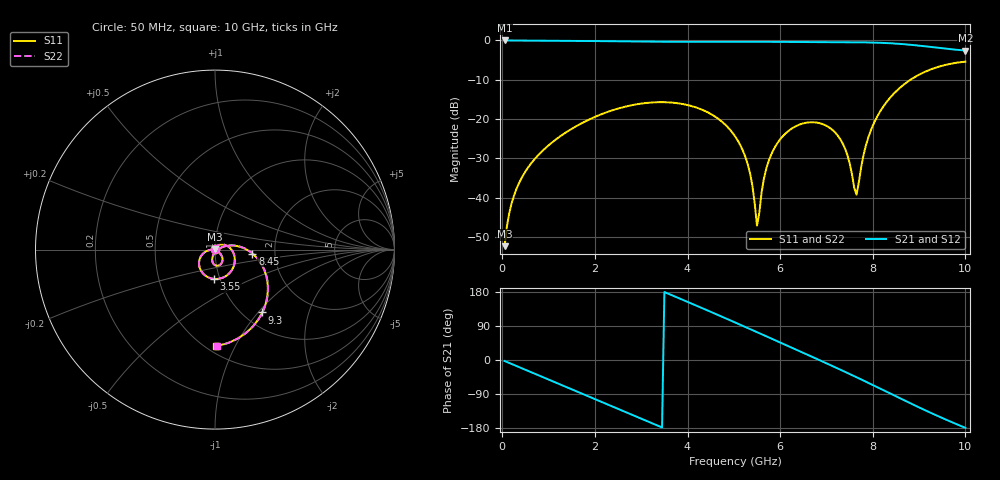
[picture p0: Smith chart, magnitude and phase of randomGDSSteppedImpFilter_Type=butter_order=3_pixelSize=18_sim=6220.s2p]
! freq	dB(S11)	phase(S11)	dB(S12)	phase(S12)
!  dB(S21)	phase(S21)	dB(S22)	phase(S22)
!S-par simulation data
#  GHz  S  DB  R 50
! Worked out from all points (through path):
!   200 points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, 50 MHz to 10 GHz, reference 50 ohm
!   highest |S21| = -0.02 dB at 50 MHz (marker M1); lowest = -2.6 dB at 10 GHz (marker M2)
!   group delay of S21, straight-line fit = 150 ps
!   lowest |S11| = -52.3 dB at 50 MHz (marker M3), VSWR 1.00, Z = 50.2 + j0.186 ohm
!   |S11| at or under -10 dB: start of sweep to 8.815 GHz
!   |S22| runs from -52.3 to -5.4 dB; largest |S21 - S12| = 0
!   S11 on the Smith chart (normalised r, x): 50 MHz: 1.00, +0.00; 3.55 GHz: 0.94, -0.32; 8.45 GHz: 1.52, -0.07; 9.3 GHz: 1.21, -1.05; 10 GHz: 0.56, -0.84
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0.05  -52.30 49.7  -0.02 -2.6  -0.02 -2.6  -52.30 49.7
0.2  -41.46 70.6  -0.02 -10.4  -0.02 -10.4  -41.46 70.6
0.5  -33.30 62.2  -0.04 -25.8  -0.04 -25.8  -33.30 62.2
1.15  -25.24 31.1  -0.08 -59.3  -0.08 -59.3  -25.24 31.1
1.75  -20.83 0.5  -0.14 -90.3  -0.14 -90.3  -20.83 0.4
2.5  -17.32 -38.1  -0.24 -129.0  -0.24 -129.0  -17.32 -38.2
3.4  -15.70 -84.2  -0.34 -175.4  -0.34 -175.4  -15.70 -84.2
3.55  -15.73 -91.8  -0.35 176.8  -0.35 176.8  -15.73 -91.9
4.25  -17.31 -127.4  -0.37 140.4  -0.37 140.4  -17.32 -127.4
5.05  -24.80 -166.6  -0.34 97.8  -0.34 97.8  -24.81 -166.7
5.35  -33.79 -175.0  -0.34 81.6  -0.34 81.6  -33.80 -175.1
5.5  -47.09 -120.3  -0.35 73.5  -0.35 73.5  -47.18 -120.3
5.65  -35.10 -35.7  -0.36 65.3  -0.36 65.3  -35.09 -35.6
5.85  -27.93 -38.7  -0.37 54.4  -0.37 54.4  -27.93 -38.8
6.7  -20.81 -79.5  -0.44 7.9  -0.44 7.9  -20.80 -79.7
7.3  -25.15 -106.4  -0.46 -25.5  -0.46 -25.5  -25.17 -107.0
7.65  -39.23 -38.4  -0.48 -45.5  -0.48 -45.5  -39.91 -37.8
7.9  -24.79 18.2  -0.52 -60.1  -0.52 -60.1  -24.82 19.2
8.35  -14.91 -0.6  -0.71 -86.8  -0.71 -86.8  -14.91 -0.2
8.45  -13.58 -6.0  -0.78 -92.8  -0.78 -92.8  -13.59 -5.6
9.3  -7.17 -53.1  -1.73 -142.1  -1.73 -142.1  -7.17 -52.8
10  -5.40 -89.3  -2.57 -179.1  -2.57 -179.1  -5.40 -89.0
